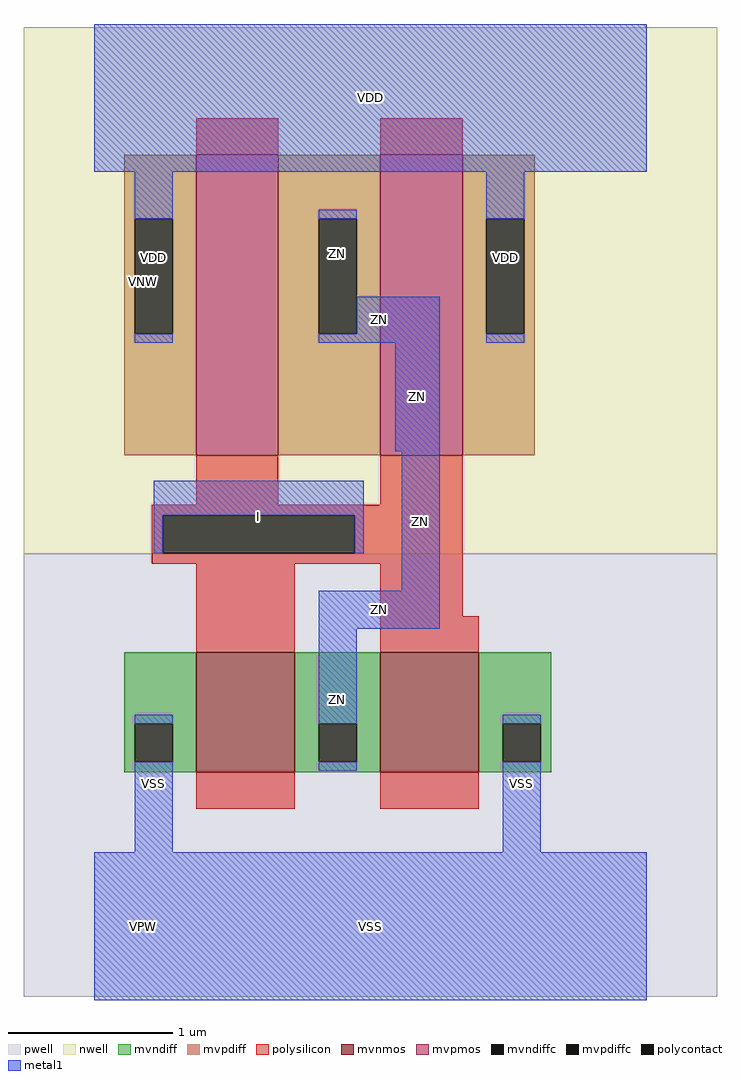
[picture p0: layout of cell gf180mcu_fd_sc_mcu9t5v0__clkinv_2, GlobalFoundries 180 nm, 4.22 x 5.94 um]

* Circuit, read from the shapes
.subckt gf180mcu_fd_sc_mcu9t5v0__clkinv_2 I ZN VDD VNW VPW VSS
XM1 ZN I VSS VPW nfet_06v0 w=0.73u l=0.6u m=2
XM2 ZN I VDD VNW pfet_06v0 w=1.83u l=0.5u m=2
.ends

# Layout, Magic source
magic
tech gf180mcuD
magscale 1 10
<< nwell >>
rect -86 453 758 1094
<< pwell >>
rect -86 -86 758 453
<< mvnmos >>
rect 124 187 244 333
rect 348 187 468 333
<< mvpmos >>
rect 124 573 224 939
rect 348 573 448 939
<< mvndiff >>
rect 36 246 124 333
rect 36 200 49 246
rect 95 200 124 246
rect 36 187 124 200
rect 244 246 348 333
rect 244 200 273 246
rect 319 200 348 246
rect 244 187 348 200
rect 468 246 556 333
rect 468 200 497 246
rect 543 200 556 246
rect 468 187 556 200
<< mvpdiff >>
rect 36 861 124 939
rect 36 721 49 861
rect 95 721 124 861
rect 36 573 124 721
rect 224 861 348 939
rect 224 721 273 861
rect 319 721 348 861
rect 224 573 348 721
rect 448 861 536 939
rect 448 721 477 861
rect 523 721 536 861
rect 448 573 536 721
<< mvndiffc >>
rect 49 200 95 246
rect 273 200 319 246
rect 497 200 543 246
<< mvpdiffc >>
rect 49 721 95 861
rect 273 721 319 861
rect 477 721 523 861
<< polysilicon >>
rect 124 939 224 983
rect 348 939 448 983
rect 124 513 224 573
rect 348 513 448 573
rect 70 500 448 513
rect 70 454 83 500
rect 317 454 448 500
rect 70 441 448 454
rect 124 333 244 441
rect 348 377 448 441
rect 348 333 468 377
rect 124 143 244 187
rect 348 143 468 187
<< polycontact >>
rect 83 454 317 500
<< metal1 >>
rect 0 918 672 1098
rect 49 861 95 918
rect 49 710 95 721
rect 273 861 319 872
rect 477 861 523 918
rect 319 721 420 766
rect 273 710 420 721
rect 477 710 523 721
rect 366 578 420 710
rect 72 500 328 542
rect 72 454 83 500
rect 317 454 328 500
rect 374 408 420 578
rect 273 362 420 408
rect 49 246 95 257
rect 49 90 95 200
rect 273 246 319 362
rect 273 189 319 200
rect 497 246 543 257
rect 497 90 543 200
rect 0 -90 672 90
<< labels >>
flabel metal1 s 72 454 328 542 0 FreeSans 200 0 0 0 I
port 1 nsew default input
flabel metal1 s 0 918 672 1098 0 FreeSans 200 0 0 0 VDD
port 3 nsew power bidirectional abutment
flabel metal1 s 497 90 543 257 0 FreeSans 200 0 0 0 VSS
port 6 nsew ground bidirectional abutment
flabel metal1 s 273 766 319 872 0 FreeSans 200 0 0 0 ZN
port 2 nsew default output
flabel nwell s 10 734 110 834 0 FreeSans 400 0 0 0 VNW
port 4 nsew power bidirectional
flabel pwell s 10 -50 110 50 0 FreeSans 400 0 0 0 VPW
port 5 nsew ground bidirectional
rlabel metal1 s 273 710 420 766 1 ZN
port 2 nsew default output
rlabel metal1 s 366 578 420 710 1 ZN
port 2 nsew default output
rlabel metal1 s 374 408 420 578 1 ZN
port 2 nsew default output
rlabel metal1 s 273 362 420 408 1 ZN
port 2 nsew default output
rlabel metal1 s 273 189 319 362 1 ZN
port 2 nsew default output
rlabel metal1 s 477 710 523 918 1 VDD
port 3 nsew power bidirectional abutment
rlabel metal1 s 49 710 95 918 1 VDD
port 3 nsew power bidirectional abutment
rlabel metal1 s 49 90 95 257 1 VSS
port 6 nsew ground bidirectional abutment
rlabel metal1 s 0 -90 672 90 1 VSS
port 6 nsew ground bidirectional abutment
<< properties >>
string FIXED_BBOX 0 0 672 1008
string GDS_END 1446214
string GDS_FILE $PDKPATH/libs.ref/gf180mcu_fd_sc_mcu9t5v0/gds/gf180mcu_fd_sc_mcu9t5v0.gds
string GDS_START 1443520
string LEFclass core
string LEFsite GF018hv5v_green_sc9
string LEFsymmetry X Y
<< end >>
